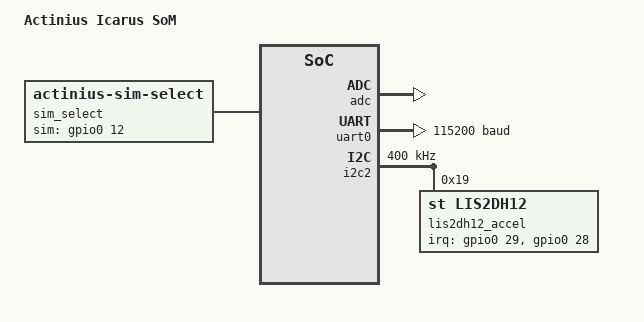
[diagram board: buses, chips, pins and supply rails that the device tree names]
/*
 * Copyright (c) 2021-2022 Actinius
 *
 * SPDX-License-Identifier: Apache-2.0
 */
#include "actinius_icarus_som_common-pinctrl.dtsi"

/ {
	model = "Actinius Icarus SoM";
	compatible = "actinius,icarus_som";

	chosen {
		zephyr,console = &uart0;
		zephyr,shell-uart = &uart0;
		zephyr,uart-mcumgr = &uart0;
	};

	aliases {
		watchdog0 = &wdt0;
		accel0 = &lis2dh12_accel;
	};

	sim_select: sim-select {
		compatible = "actinius-sim-select";
		sim-gpios = <&gpio0 12 GPIO_ACTIVE_HIGH>;
		sim = "esim";
	};
};

&adc {
	status = "okay";
};

&gpiote {
	status = "okay";
};

&gpio0 {
	status = "okay";
};

&uart0 {
	status = "okay";

	current-speed = <115200>;
	pinctrl-0 = <&uart0_default>;
	pinctrl-1 = <&uart0_sleep>;
	pinctrl-names = "default", "sleep";
};

&i2c2 {
	compatible = "nordic,nrf-twim";
	status = "okay";

	clock-frequency = <I2C_BITRATE_FAST>;

	pinctrl-0 = <&i2c2_default>;
	pinctrl-1 = <&i2c2_sleep>;
	pinctrl-names = "default", "sleep";

	lis2dh12_accel: lis2dh12-accel@19 {
		compatible = "st,lis2dh12", "st,lis2dh";
		reg = <0x19>;
		irq-gpios = <&gpio0 29 GPIO_ACTIVE_HIGH>,
			    <&gpio0 28 GPIO_ACTIVE_HIGH>;
	};
};

/* Include default memory partition configuration file */
#include <nordic/nrf91xx_partition.dtsi>
